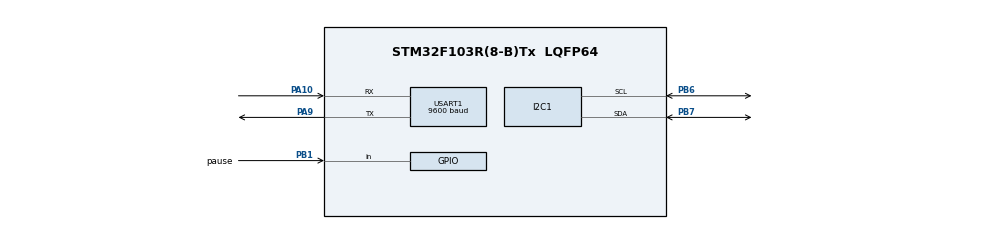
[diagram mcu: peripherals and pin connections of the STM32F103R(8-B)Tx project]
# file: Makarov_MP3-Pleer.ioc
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I2C1.I2C_Mode=I2C_Fast
Mcu.Family=STM32F1
Mcu.Name=STM32F103R(8-B)Tx
Mcu.Package=LQFP64
NVIC.PriorityGroup=NVIC_PRIORITYGROUP_4
NVIC.USART1_IRQn=true\:0\:0\:false\:false\:true\:true\:true\:true
PA10.Mode=Asynchronous
PA10.Signal=USART1_RX
PA9.Mode=Asynchronous
PA9.Signal=USART1_TX
PB1.GPIO_Label=pause
PB1.GPIO_PuPd=GPIO_PULLDOWN
PB1.Signal=GPIO_Input
PB6.Mode=I2C
PB6.Signal=I2C1_SCL
PB7.Mode=I2C
PB7.Signal=I2C1_SDA
PC14-OSC32_IN.Mode=LSE-External-Oscillator
PC14-OSC32_IN.Signal=RCC_OSC32_IN
PC15-OSC32_OUT.Mode=LSE-External-Oscillator
PC15-OSC32_OUT.Signal=RCC_OSC32_OUT
PD0-OSC_IN.Mode=HSE-External-Oscillator
PD0-OSC_IN.Signal=RCC_OSC_IN
PD1-OSC_OUT.Mode=HSE-External-Oscillator
PD1-OSC_OUT.Signal=RCC_OSC_OUT
ProjectManager.HeapSize=0x200
ProjectManager.StackSize=0x400
ProjectManager.TargetToolchain=STM32CubeIDE
RCC.APB1Freq_Value=8000000
RCC.APB2Freq_Value=8000000
RCC.USBFreq_Value=8000000
USART1.BaudRate=9600
USART1.VirtualMode=VM_ASYNC
board=custom

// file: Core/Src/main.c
/* USER CODE BEGIN Header */
/**
  ******************************************************************************
  * @file           : main.c
  * @brief          : Main program body
  ******************************************************************************
  * @attention
  *
  * Copyright (c) 2024 STMicroelectronics.
  * All rights reserved.
  *
  * This software is licensed under terms that can be found in the LICENSE file
  * in the root directory of this software component.
  * If no LICENSE file comes with this software, it is provided AS-IS.
  *
  ******************************************************************************
  */
/* USER CODE END Header */
#include "main.h"

/* USER CODE BEGIN Includes */
  #include "mp3.h"
  #include "Oled1306 32.h"
/* USER CODE END Includes */

I2C_HandleTypeDef hi2c1;

UART_HandleTypeDef huart1;

/* USER CODE BEGIN PV */
int btn_prev = 0; /*предыдущее состояние кнопки*/
int btn_cur = 0;/*текущее состояние кнопки*/
int mus_OnOff = 1;
/* USER CODE END PV */

void SystemClock_Config(void);
static void MX_GPIO_Init(void);
static void MX_USART1_UART_Init(void);
static void MX_I2C1_Init(void);

int main(void)
{

  /* MCU Configuration--------------------------------------------------------*/

  /* Reset of all peripherals, Initializes the Flash interface and the Systick. */
  HAL_Init();

  /* Configure the system clock */
  SystemClock_Config();

  /* Initialize all configured peripherals */
  MX_GPIO_Init();
  MX_USART1_UART_Init();
  MX_I2C1_Init();
  /* USER CODE BEGIN 2 */
  HAL_Delay(500);
  MP3_send_cmd(MP3_VOLUME, 0, 10); //0-30
  HAL_Delay(10);

  //MP3_set_folder(1);
  //HAL_Delay(10);

  MP3_play(1);

  /* USER CODE END 2 */

  /* Infinite loop */
  /* USER CODE BEGIN WHILE */
  while (1)
  {
	  btn_cur = HAL_GPIO_ReadPin(pause_GPIO_Port, pause_Pin);/*Считываем состояние кнопки*/
	 	  if ((btn_prev == 0) && (btn_cur != 0))
	 	  {
	 		  if (mus_OnOff){
	 			 MP3_pause();
	 			 mus_OnOff = 0;
	 		  }
	 		  else{
	 			  MP3_send_cmd(MP3_PLAYBACK, 0, 0);
	 			  mus_OnOff = 1;
	 		  }
	 	  }
	 	  btn_prev = btn_cur;
	 	  HAL_Delay(100);
  }

    /* USER CODE END WHILE */

}

void SystemClock_Config(void)
{
  RCC_OscInitTypeDef RCC_OscInitStruct = {0};
  RCC_ClkInitTypeDef RCC_ClkInitStruct = {0};

  /** Initializes the RCC Oscillators according to the specified parameters
  * in the RCC_OscInitTypeDef structure.
  */
  RCC_OscInitStruct.OscillatorType = RCC_OSCILLATORTYPE_HSI;
  RCC_OscInitStruct.HSIState = RCC_HSI_ON;
  RCC_OscInitStruct.HSICalibrationValue = RCC_HSICALIBRATION_DEFAULT;
  RCC_OscInitStruct.PLL.PLLState = RCC_PLL_NONE;
  if (HAL_RCC_OscConfig(&RCC_OscInitStruct) != HAL_OK)
  {
    Error_Handler();
  }

  /** Initializes the CPU, AHB and APB buses clocks
  */
  RCC_ClkInitStruct.ClockType = RCC_CLOCKTYPE_HCLK|RCC_CLOCKTYPE_SYSCLK
                              |RCC_CLOCKTYPE_PCLK1|RCC_CLOCKTYPE_PCLK2;
  RCC_ClkInitStruct.SYSCLKSource = RCC_SYSCLKSOURCE_HSI;
  RCC_ClkInitStruct.AHBCLKDivider = RCC_SYSCLK_DIV1;
  RCC_ClkInitStruct.APB1CLKDivider = RCC_HCLK_DIV1;
  RCC_ClkInitStruct.APB2CLKDivider = RCC_HCLK_DIV1;

  if (HAL_RCC_ClockConfig(&RCC_ClkInitStruct, FLASH_LATENCY_0) != HAL_OK)
  {
    Error_Handler();
  }
}

static void MX_I2C1_Init(void)
{

  hi2c1.Instance = I2C1;
  hi2c1.Init.ClockSpeed = 400000;
  hi2c1.Init.DutyCycle = I2C_DUTYCYCLE_2;
  hi2c1.Init.OwnAddress1 = 0;
  hi2c1.Init.AddressingMode = I2C_ADDRESSINGMODE_7BIT;
  hi2c1.Init.DualAddressMode = I2C_DUALADDRESS_DISABLE;
  hi2c1.Init.OwnAddress2 = 0;
  hi2c1.Init.GeneralCallMode = I2C_GENERALCALL_DISABLE;
  hi2c1.Init.NoStretchMode = I2C_NOSTRETCH_DISABLE;
  if (HAL_I2C_Init(&hi2c1) != HAL_OK)
  {
    Error_Handler();
  }

}

static void MX_USART1_UART_Init(void)
{

  huart1.Instance = USART1;
  huart1.Init.BaudRate = 9600;
  huart1.Init.WordLength = UART_WORDLENGTH_8B;
  huart1.Init.StopBits = UART_STOPBITS_1;
  huart1.Init.Parity = UART_PARITY_NONE;
  huart1.Init.Mode = UART_MODE_TX_RX;
  huart1.Init.HwFlowCtl = UART_HWCONTROL_NONE;
  huart1.Init.OverSampling = UART_OVERSAMPLING_16;
  if (HAL_UART_Init(&huart1) != HAL_OK)
  {
    Error_Handler();
  }

}

static void MX_GPIO_Init(void)
{
  GPIO_InitTypeDef GPIO_InitStruct = {0};

  /* GPIO Ports Clock Enable */
  __HAL_RCC_GPIOC_CLK_ENABLE();
  __HAL_RCC_GPIOD_CLK_ENABLE();
  __HAL_RCC_GPIOB_CLK_ENABLE();
  __HAL_RCC_GPIOA_CLK_ENABLE();

  /*Configure GPIO pin : pause_Pin */
  GPIO_InitStruct.Pin = pause_Pin;
  GPIO_InitStruct.Mode = GPIO_MODE_INPUT;
  GPIO_InitStruct.Pull = GPIO_PULLDOWN;
  HAL_GPIO_Init(pause_GPIO_Port, &GPIO_InitStruct);

}

void Error_Handler(void)
{
  __disable_irq();
  while (1)
  {
  }
}
